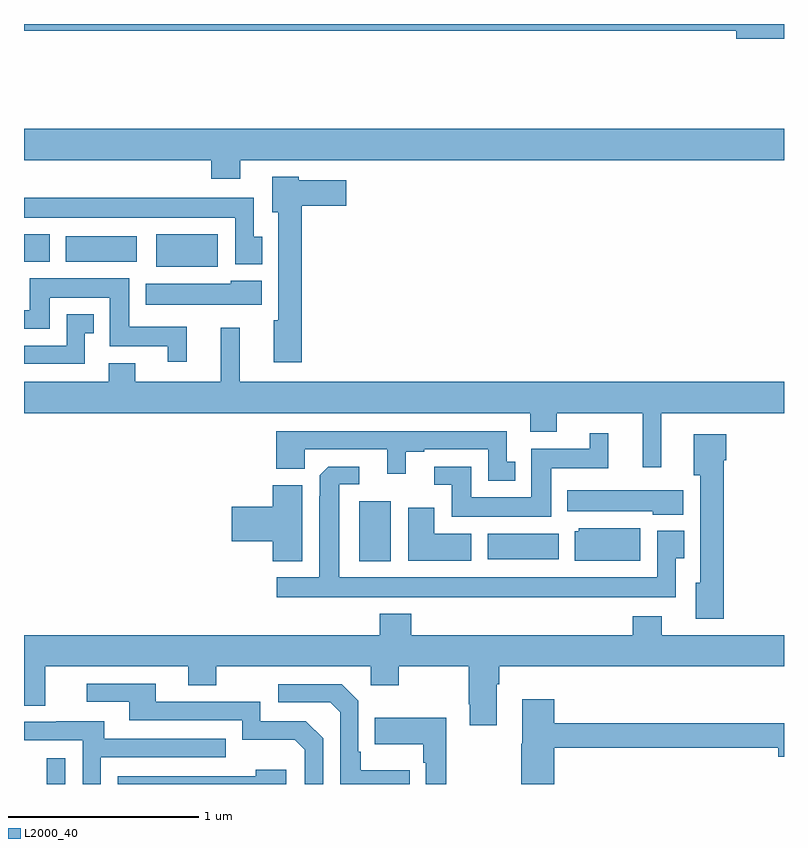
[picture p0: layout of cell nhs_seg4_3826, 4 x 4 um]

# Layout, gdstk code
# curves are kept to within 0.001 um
import gdstk
lib = gdstk.Library(unit=1e-6, precision=1e-09)
def R(c, l, rs):  # rectangles x0, y0, x1, y1
    for r in rs: c.add(gdstk.rectangle(r[:2], r[2:], *l))
def P(c, l, *ps):  # polygons
    for p in ps: c.add(gdstk.Polygon(p, *l))
L2000_40 = (2000, 40)

nhs_seg4_3826 = lib.new_cell('nhs_seg4_3826')
R(nhs_seg4_3826, L2000_40, [(313.121,762.9,313.218,763.036), (314.765,764.072,314.929,764.389), (315.44,764.084,315.814,764.218), (313.697,765.623,314.02,765.793), (313,765.65,313.135,765.793), (313.22,765.65,313.594,765.784)])
P(nhs_seg4_3826, L2000_40, [(317,766.9),(313,766.9),(313,766.864),(316.748,766.864),(316.748,766.822),(317,766.822)],
  [(314.137,766.184),(317,766.184),(317,766.348),(313,766.348),(313,766.184),(313.985,766.184),(313.985,766.085),(314.137,766.085)],
  [(314.462,765.944),(314.695,765.944),(314.695,766.078),(314.445,766.078),(314.445,766.096),(314.306,766.096),(314.306,765.909),(314.339,765.909),(314.339,765.342),(314.315,765.342),(314.315,765.12),(314.462,765.12)],
  [(314.254,765.78),(314.209,765.78),(314.209,765.985),(313,765.985),(313,765.881),(314.112,765.881),(314.112,765.636),(314.254,765.636)],
  [(313.856,765.307),(313.555,765.307),(313.555,765.562),(313.031,765.562),(313.031,765.393),(313,765.393),(313,765.297),(313.135,765.297),(313.135,765.458),(313.451,765.458),(313.451,765.203),(313.757,765.203),(313.757,765.123),(313.856,765.123)],
  [(314.251,765.55),(314.088,765.55),(314.088,765.532),(313.64,765.532),(313.64,765.422),(314.251,765.422)],
  [(313.32,765.273),(313.366,765.273),(313.366,765.373),(313.224,765.373),(313.224,765.207),(313,765.207),(313,765.111),(313.32,765.111)],
  [(316.354,764.852),(317,764.852),(317,765.016),(314.135,765.016),(314.135,765.301),(314.036,765.301),(314.036,765.016),(313.585,765.016),(313.585,765.115),(313.445,765.115),(313.445,765.016),(313,765.016),(313,764.852),(315.665,764.852),(315.665,764.753),(315.805,764.753),(315.805,764.852),(316.256,764.852),(316.256,764.568),(316.354,764.568)],
  [(315.586,764.595),(315.54,764.595),(315.54,764.757),(314.327,764.757),(314.327,764.558),(314.478,764.558),(314.478,764.661),(314.912,764.661),(314.912,764.532),(315.01,764.532),(315.01,764.649),(315.106,764.649),(315.106,764.661),(315.444,764.661),(315.444,764.495),(315.586,764.495)],
  [(315.775,764.561),(316.076,764.561),(316.076,764.746),(315.977,764.746),(315.977,764.665),(315.671,764.665),(315.671,764.41),(315.355,764.41),(315.355,764.571),(315.159,764.571),(315.159,764.475),(315.251,764.475),(315.251,764.306),(315.775,764.306)],
  [(316.682,764.604),(316.697,764.604),(316.697,764.74),(316.526,764.74),(316.526,764.526),(316.559,764.526),(316.559,763.959),(316.535,763.959),(316.535,763.769),(316.682,763.769)],
  [(316.429,764.089),(316.474,764.089),(316.474,764.233),(316.332,764.233),(316.332,763.987),(314.659,763.987),(314.659,764.478),(314.764,764.478),(314.764,764.571),(314.602,764.571),(314.556,764.525),(314.555,763.987),(314.331,763.987),(314.331,763.883),(316.429,763.883)],
  [(314.464,764.473),(314.309,764.473),(314.309,764.36),(314.094,764.36),(314.094,764.177),(314.309,764.177),(314.309,764.072),(314.464,764.072)],
  [(316.471,764.446),(315.86,764.446),(315.86,764.336),(316.308,764.336),(316.308,764.318),(316.471,764.318)],
  [(315.355,764.218),(315.16,764.218),(315.16,764.353),(315.023,764.353),(315.023,764.075),(315.355,764.075)],
  [(316.243,764.245),(315.921,764.245),(315.921,764.229),(315.899,764.229),(315.899,764.075),(316.243,764.075)],
  [(314.973,763.52),(315.34,763.52),(315.34,763.321),(315.347,763.321),(315.347,763.209),(315.487,763.209),(315.487,763.424),(315.5,763.424),(315.5,763.52),(317,763.52),(317,763.684),(316.357,763.684),(316.357,763.783),(316.205,763.783),(316.205,763.684),(315.038,763.684),(315.038,763.795),(314.873,763.795),(314.873,763.684),(313,763.684),(313,763.312),(313.111,763.312),(313.111,763.52),(313.865,763.52),(313.865,763.421),(314.013,763.421),(314.013,763.52),(314.826,763.52),(314.826,763.421),(314.973,763.421)],
  [(314.574,763.14),(314.484,763.23),(314.244,763.23),(314.244,763.332),(313.693,763.332),(313.693,763.428),(313.329,763.428),(313.329,763.332),(313.553,763.332),(313.553,763.236),(314.148,763.236),(314.148,763.133),(314.425,763.133),(314.478,763.08),(314.478,762.9),(314.574,762.9)],
  [(315.029,762.973),(314.773,762.973),(314.773,763.069),(314.76,763.069),(314.76,763.338),(314.673,763.425),(314.337,763.425),(314.337,763.329),(314.613,763.329),(314.664,763.278),(314.664,762.9),(315.029,762.9)],
  [(315.791,763.09),(316.97,763.09),(316.97,763.043),(317,763.043),(317,763.219),(315.791,763.219),(315.791,763.345),(315.623,763.345),(315.623,763.113),(315.616,763.113),(315.616,762.9),(315.791,762.9)],
  [(315.223,763.249),(314.845,763.249),(314.845,763.109),(315.102,763.109),(315.102,763.013),(315.114,763.013),(315.114,762.9),(315.223,762.9)],
  [(313.404,763.041),(314.063,763.041),(314.063,763.137),(313.423,763.137),(313.423,763.231),(313.169,763.231),(313.169,763.227),(313,763.227),(313,763.131),(313.308,763.131),(313.308,762.9),(313.404,762.9)],
  [(314.38,762.976),(314.219,762.976),(314.219,762.942),(313.494,762.942),(313.494,762.9),(314.38,762.9)])

lib.write_gds('nhs_seg4_3826.gds')
